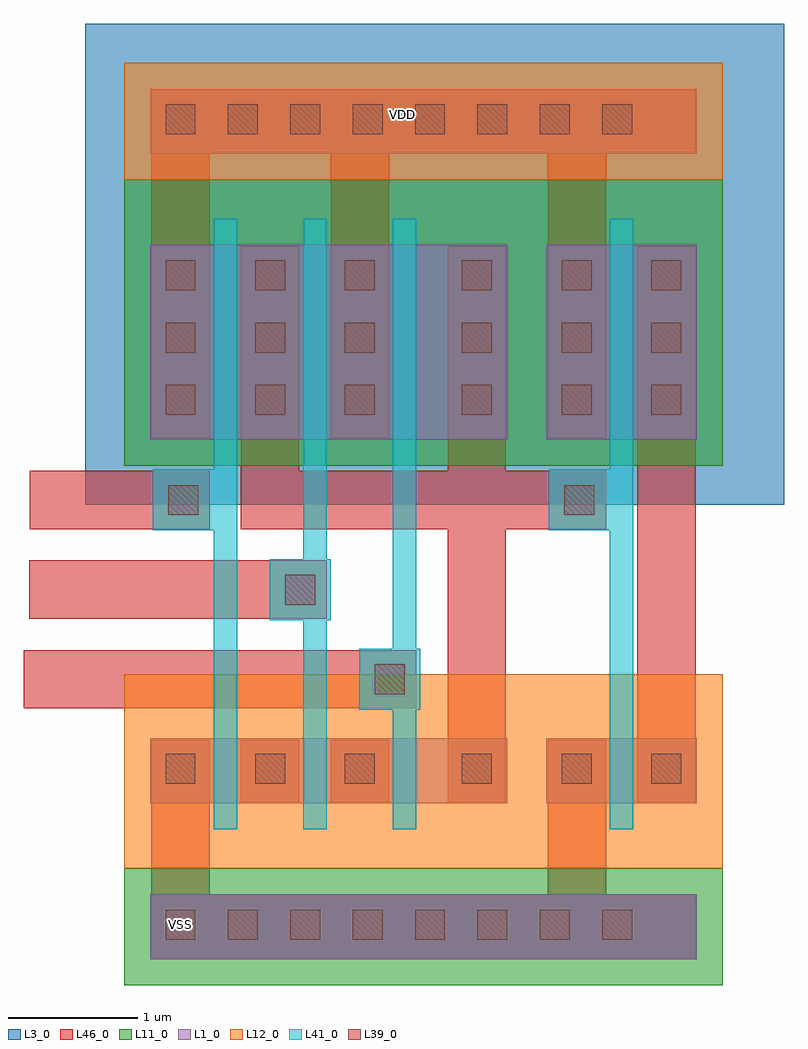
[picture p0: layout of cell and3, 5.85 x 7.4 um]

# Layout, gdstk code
import gdstk
lib = gdstk.Library(unit=1e-6, precision=1e-09)
def R(c, l, rs):  # rectangles x0, y0, x1, y1
    for r in rs: c.add(gdstk.rectangle(r[:2], r[2:], *l))
def A(c, l, x, y, w, h, nx, ny, dx, dy):  # array of equal rectangles
    R(c, l, [(x+i*dx, y+j*dy, x+i*dx+w, y+j*dy+h) for i in range(nx) for j in range(ny)])
L1_0 = (1, 0)
L3_0 = (3, 0)
L11_0 = (11, 0)
L12_0 = (12, 0)
L39_0 = (39, 0)
L41_0 = (41, 0)
L46_0 = (46, 0)

and3 = lib.new_cell('and3')
R(and3, L1_0, [(0.905,0.825,5.115,1.325), (0.905,2.025,3.655,2.525), (3.955,2.025,5.115,2.525), (0.905,4.825,3.655,6.325), (3.955,4.825,5.115,6.325), (0.905,7.026,5.115,7.526)])
R(and3, L3_0, [(0.405,4.325,5.785,8.025)])
R(and3, L11_0, [(0.705,0.625,5.315,1.525), (0.705,4.625,5.315,6.825)])
R(and3, L12_0, [(0.705,1.525,5.315,3.02), (0.705,6.825,5.315,7.725)])
A(and3, L39_0, 1.025, 0.975, 0.23, 0.23, 8, 2, 0.48, 6.201)
A(and3, L39_0, 1.025, 2.175, 0.23, 0.23, 3, 2, 0.69, 2.84)
A(and3, L39_0, 3.305, 5.015, 0.23, 0.23, 1, 3, 0, 0.48)
A(and3, L39_0, 4.075, 5.015, 0.23, 0.23, 1, 3, 0, 0.48)
A(and3, L39_0, 4.765, 5.015, 0.23, 0.23, 1, 3, 0, 0.48)
A(and3, L39_0, 1.025, 5.495, 0.23, 0.23, 3, 2, 0.69, 0.48)
R(and3, L39_0, [(3.305,2.175,3.535,2.405), (4.075,2.175,4.305,2.405), (4.765,2.175,4.995,2.405), (2.635,2.865,2.865,3.095), (1.945,3.555,2.175,3.785), (1.045,4.245,1.275,4.475), (4.095,4.245,4.325,4.475)])
A(and3, L41_0, 1.395, 1.825, 0.18, 4.7, 3, 1, 0.69, 0)
R(and3, L41_0, [(4.445,1.825,4.625,6.525), (2.515,2.745,2.985,3.215), (1.825,3.435,2.295,3.905), (0.925,4.125,1.395,4.595), (3.975,4.125,4.445,4.595)])
R(and3, L46_0, [(0.915,0.835,1.365,2.515), (0.915,0.835,5.105,1.315), (3.965,0.835,4.415,2.515), (1.605,2.035,2.055,2.515), (2.295,2.035,2.745,2.515), (3.195,2.035,3.645,6.315), (4.655,2.035,5.105,2.515), (4.655,2.07,5.105,6.315), (-0.065,2.755,2.955,3.205), (-0.025,3.445,2.265,3.895), (-0.02,4.135,1.365,4.585), (1.605,4.135,2.055,6.315), (1.625,4.135,4.415,4.585), (0.915,4.835,1.365,7.515), (2.295,4.835,2.745,6.315), (3.965,4.835,4.415,7.515), (2.295,6.02,2.745,7.5), (0.915,7.036,5.105,7.516)])
and3.add(gdstk.Label('VDD', (2.845,7.325), layer=101, texttype=0))
and3.add(gdstk.Label('VSS', (1.14,1.095), layer=101, texttype=0))

lib.write_gds('and3.gds')
